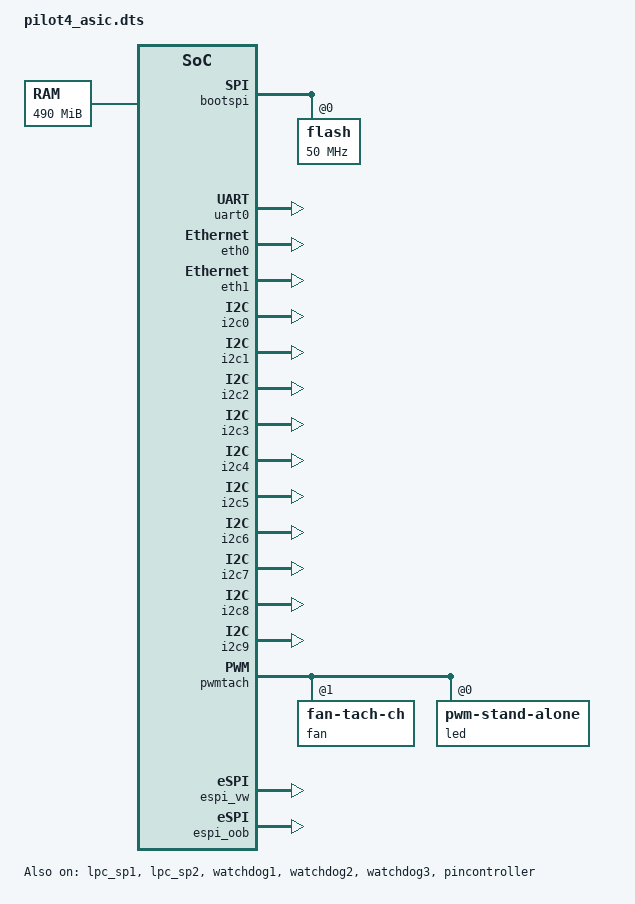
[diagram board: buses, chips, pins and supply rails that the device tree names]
// SPDX-License-Identifier: GPL-2.0
// Copyright (c) 2018 Aspeed Technology Inc
// Shivah Shankar <shivahshankar.shankarnarayanrao@aspeedtech.com>

/dts-v1/;
#include "skeleton.dtsi"
#include "pilot4.dtsi"
/ {
	memory {
		device_type = "memory";
		reg = <0x81000000 0X1EA00000>; 
	};

	aliases {
		serial0 = &uart0;
		serial1 = &lpc_sp1;
                serial2 = &lpc_sp2;
	        i2c0 = &i2c0;
                i2c1 = &i2c1;
                i2c2 = &i2c2;
                i2c3 = &i2c3;
                i2c4 = &i2c4;
                i2c5 = &i2c5;
                i2c6 = &i2c6;
                i2c7 = &i2c7;
                i2c8 = &i2c8;
                i2c9 = &i2c9;
		pwmtach = &pwmtach;
	};
	chosen {
                bootargs = "console=ttyS0,115200n8 mem=490M earlyprintk";
                stdout-path = "serial0:115200n8";
        };
/*
	chosen {
		bootargs = "console=ttyS0,115200n8 root=/dev/ram0 rw initrd=0x86000000,32M mem=480M earlyprintk";
                stdout-path = "serial0:115200n8";
	};
*/

};

&bootspi {
        status = "okay";
        flash@0 {
                status = "okay";
                spi-max-frequency = <50000000>;
#include "openbmc-flash-layout.dtsi"
        };
};

&uart0{
status = "okay";
};
&lpc_sp1{
status = "okay";
};
&lpc_sp2{
status = "okay";
};
&eth0{
status = "okay";
};
&eth1{
status = "okay";
};
&watchdog1{
status = "okay";
};
&watchdog2{
status = "okay";
};
&watchdog3{
status = "okay";
};
&pincontroller{
status = "okay";
};

&pilot_gpio_ctrl{
status = "okay";
};
&i2c0{
        status = "okay";
};
&i2c1{
        status = "okay";
};
&i2c2{
        status = "okay";
};
&i2c3{
        status = "okay";
};
&i2c4{
        status = "okay";
};
&i2c5{
        status = "okay";
};
&i2c6{
        status = "okay";
};
&i2c7{
        status = "okay";
};
&i2c8{
        status = "okay";
};
&i2c9{
        status = "okay";
};
&pwmtach{
        status = "okay";
	pinctrl-names = "default";
	pinctrl-0 = <&BMC_PWM_0>,<&BMC_PWM_1>,<&BMC_PWM_2>,<&BMC_PWM_3>,<&BMC_PWM_4>
			,<&BMC_PWM_7>,<&BMC_PWM_6>,<&BMC_PWM_5>,
	<&BMC_FAN_TACH_0>,<&BMC_FAN_TACH_1>,<&BMC_FAN_TACH_2>,<&BMC_FAN_TACH_3>
		,<&BMC_FAN_TACH_4>,<&BMC_FAN_TACH_5>,<&BMC_FAN_TACH_6>,<&BMC_FAN_TACH_7>
		,<&BMC_FAN_TACH_8>,<&BMC_FAN_TACH_9>,<&BMC_FAN_TACH_10>,<&BMC_FAN_TACH_11>
		,<&BMC_FAN_TACH_12>,<&BMC_FAN_TACH_13>,<&BMC_FAN_TACH_14>,<&BMC_FAN_TACH_15>;

       fan@0 {
                compatible = "fan-tach-ch";
                reg = <0x01>;
                aspeed,fan-tach-ch = /bits/ 8 <0x00>;
                aspeed,pwm-clk-divider = <8330000>;
                aspeed,pwm-prescaler = <0>;
        };

        led@0 {
                compatible = "pwm-stand-alone";
                reg = <0x00>;
                aspeed,pwm-clk-divider = <200000>;
                aspeed,pwm-prescaler = <126>;
        };
	
};
&espi_vw{
	    status = "okay";
};
&espi_oob{
           status = "okay";
};


